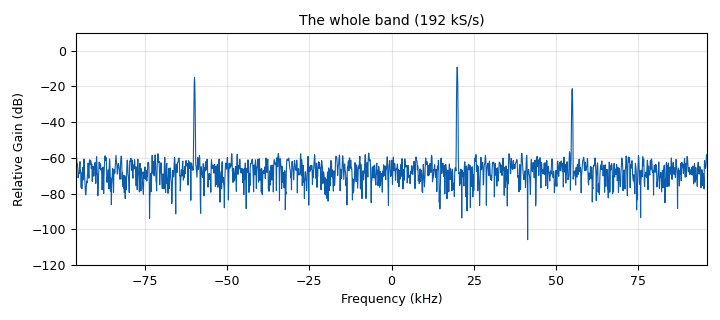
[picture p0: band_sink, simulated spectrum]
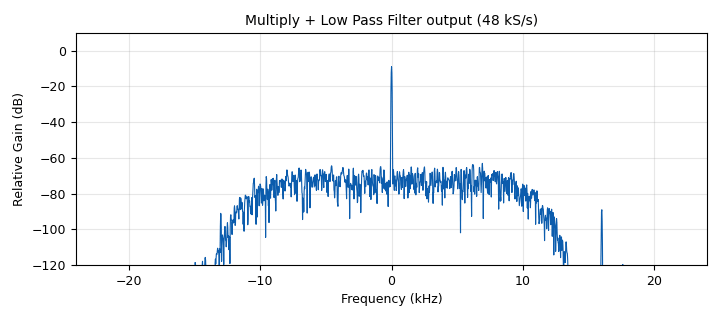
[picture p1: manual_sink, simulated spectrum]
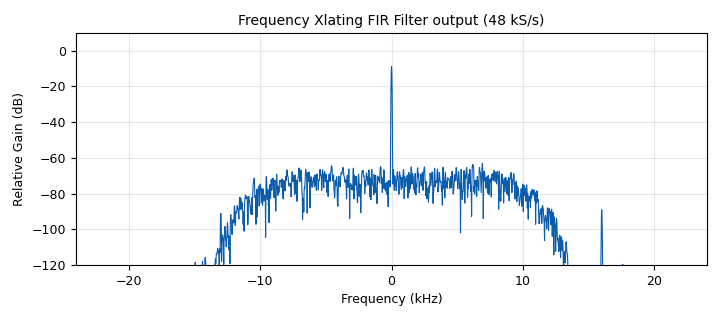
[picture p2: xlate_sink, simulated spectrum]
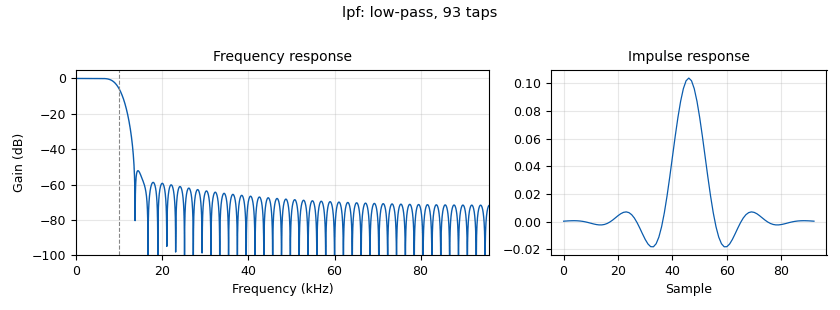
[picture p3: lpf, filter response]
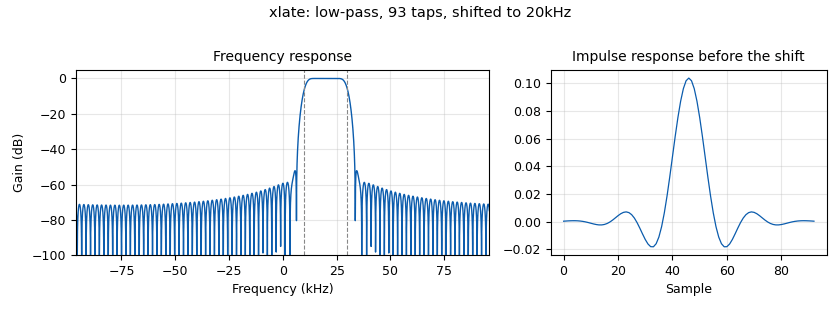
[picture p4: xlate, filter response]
options:
  parameters:
    author: GNU Radio Intro Workshop
    description: Select one of three 'stations', shift it to 0 Hz, filter and decimate
    generate_options: qt_gui
    generator_class_name: PythonQtGuiGenerator
    generator_module: gnuradio.grc.workflows.python_qt_gui
    id: tuning_and_decimation
    output_language: python
    title: Tuning and Decimation
  states: {}

blocks:
- name: decim
  id: variable
  parameters:
    value: '4'
  states: {}
- name: samp_rate
  id: variable
  parameters:
    value: '192000'
  states: {}
- name: tune
  id: variable_qtgui_range
  parameters:
    gui_hint: 0,0,1,2
    label: Tune to (Hz)
    start: '-96000'
    step: '500'
    stop: '96000'
    value: '20000'
  states: {}
- name: band
  id: blocks_add_xx
  parameters:
    num_inputs: '4'
    type: complex
  states: {}
- name: band_sink
  id: qtgui_freq_sink_x
  parameters:
    bw: samp_rate
    fc: '0'
    fftsize: '2048'
    gui_hint: 1,0,1,2
    name: '"The whole band (192 kS/s)"'
    type: complex
    ymin: '-120'
  states: {}
- name: lo
  id: analog_sig_source_x
  parameters:
    amp: '1'
    freq: '-tune'
    offset: '0'
    phase: '0'
    samp_rate: samp_rate
    type: complex
    waveform: analog.GR_COS_WAVE
  states: {}
- name: lpf
  id: low_pass_filter
  parameters:
    cutoff_freq: '10000'
    decim: decim
    gain: '1'
    samp_rate: samp_rate
    type: fir_filter_ccf
    width: '5000'
    win: window.WIN_HAMMING
  states: {}
- name: manual_sink
  id: qtgui_freq_sink_x
  parameters:
    bw: samp_rate/decim
    fc: '0'
    fftsize: '2048'
    gui_hint: 2,0,1,1
    name: '"Multiply + Low Pass Filter output (48 kS/s)"'
    type: complex
    ymin: '-120'
  states: {}
- name: mixer
  id: blocks_multiply_xx
  parameters:
    type: complex
  states: {}
- name: noise
  id: analog_noise_source_x
  parameters:
    amp: '0.05'
    noise_type: analog.GR_GAUSSIAN
    seed: '0'
    type: complex
  states: {}
- name: station_a
  id: analog_sig_source_x
  parameters:
    amp: '0.5'
    freq: '-60000'
    offset: '0'
    phase: '0'
    samp_rate: samp_rate
    type: complex
    waveform: analog.GR_COS_WAVE
  states: {}
- name: station_b
  id: analog_sig_source_x
  parameters:
    amp: '1.0'
    freq: '20000'
    offset: '0'
    phase: '0'
    samp_rate: samp_rate
    type: complex
    waveform: analog.GR_COS_WAVE
  states: {}
- name: station_c
  id: analog_sig_source_x
  parameters:
    amp: '0.25'
    freq: '55000'
    offset: '0'
    phase: '0'
    samp_rate: samp_rate
    type: complex
    waveform: analog.GR_COS_WAVE
  states: {}
- name: throttle
  id: blocks_throttle2
  parameters:
    samples_per_second: samp_rate
    type: complex
  states: {}
- name: xlate
  id: freq_xlating_fir_filter_xxx
  parameters:
    center_freq: tune
    decim: decim
    samp_rate: samp_rate
    taps: firdes.low_pass(1.0, samp_rate, 10e3, 5e3)
    type: ccc
  states: {}
- name: xlate_sink
  id: qtgui_freq_sink_x
  parameters:
    bw: samp_rate/decim
    fc: '0'
    fftsize: '2048'
    gui_hint: 2,1,1,1
    name: '"Frequency Xlating FIR Filter output (48 kS/s)"'
    type: complex
    ymin: '-120'
  states: {}

connections:
- [band, '0', throttle, '0']
- [lo, '0', mixer, '1']
- [lpf, '0', manual_sink, '0']
- [mixer, '0', lpf, '0']
- [noise, '0', band, '3']
- [station_a, '0', band, '0']
- [station_b, '0', band, '1']
- [station_c, '0', band, '2']
- [throttle, '0', band_sink, '0']
- [throttle, '0', mixer, '0']
- [throttle, '0', xlate, '0']
- [xlate, '0', xlate_sink, '0']

metadata:
  file_format: 1
  grc_version: v3.11.0.0git-1029-g3c48f5e2
